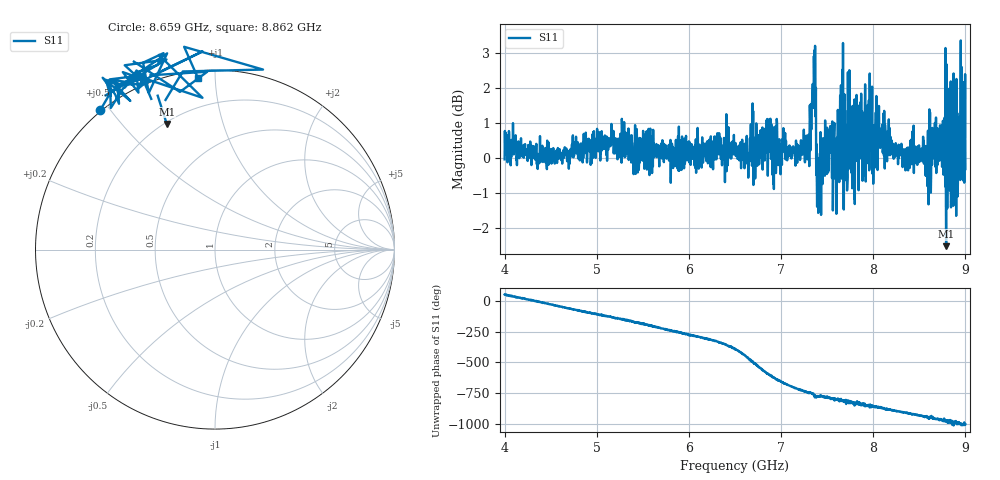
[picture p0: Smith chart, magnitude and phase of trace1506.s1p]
! Created with skrf 1.8.0 (http://scikit-rf.org).
# Hz S RI R 50.0
!freq ReS11 ImS11
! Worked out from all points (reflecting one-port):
!   1601 points, 4 GHz to 9 GHz, reference 50 ohm
!   lowest |S11| = -2.5 dB at 8.791 GHz (marker M1), VSWR 6.98, Z = 10.4 + j33.3 ohm
!   phase of S11 starts at 50 deg and turns -1051 deg over the sweep
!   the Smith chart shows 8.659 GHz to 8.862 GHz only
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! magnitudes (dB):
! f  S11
! 4 GHz  0.0
! 4.625 GHz  -0.1
! 5.25 GHz  0.0
! 5.875 GHz  0.2
! 6.5 GHz  0.2
! 6.684 GHz  -0.2
! 6.725 GHz  0.0
! 6.869 GHz  0.5
! 6.922 GHz  -0.9
! 7.125 GHz  0.2
! 7.281 GHz  0.4
! 7.353 GHz  1.4
! 7.409 GHz  -1.4
! 7.525 GHz  0.2
! 7.588 GHz  0.4
! 7.647 GHz  1.4
! 7.7 GHz  -0.5
! 7.75 GHz  0.2
! 7.775 GHz  1.5
! 7.962 GHz  2.4
! 8.375 GHz  -0.2
! 8.438 GHz  0.9
! 8.575 GHz  0.3
! 8.628 GHz  -0.5
! 8.791 GHz  -2.5
! 8.919 GHz  -0.6
! 8.972 GHz  0.8
! 9 GHz  -0.3
